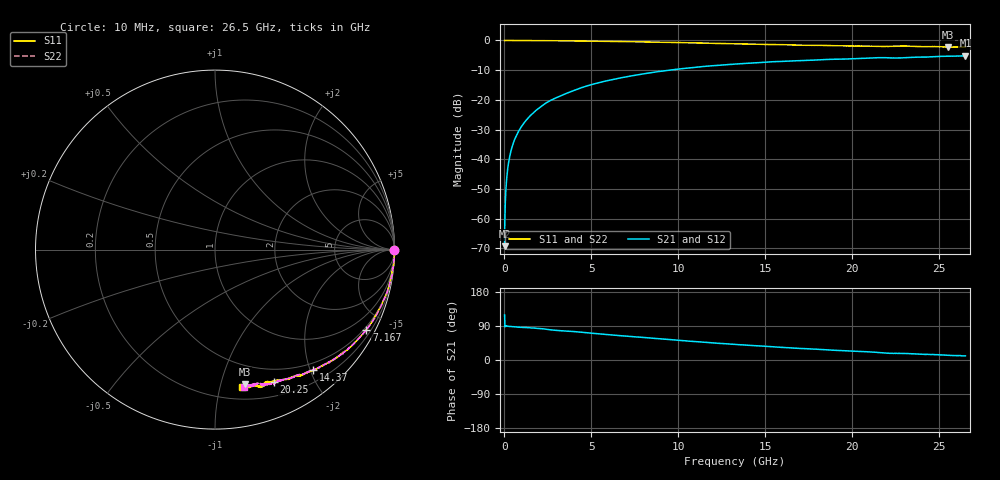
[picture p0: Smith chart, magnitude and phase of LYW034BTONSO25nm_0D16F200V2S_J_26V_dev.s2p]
!Keysight Technologies,N5222B,MY61253708,A.15.00.15
!Date: Wednesday, June 19, 2024 08:51:42
!Correction: S11(C  2-Port  )
!S21(C  2-Port  )
!S12(C  2-Port  )
!S22(C  2-Port  )
!S2P File: Measurements: S11, S21, S12, S22:
# Hz S  RI  R 50
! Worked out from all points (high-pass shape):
!   2651 points, 10 MHz to 26.5 GHz, reference 50 ohm
!   highest |S21| = -5.15 dB at 26.5 GHz (marker M1); lowest = -69.3 dB at 10 MHz (marker M2)
!   |S21| within 3 dB of the highest: 12.81 GHz to end of sweep
!   lowest |S11| = -2.3 dB at 25.5 GHz (marker M3), VSWR 7.63, Z = 16.3 - j59.7 ohm
!   |S11| at or under -10 dB: nowhere
!   |S22| runs from -2.2 to 0.0 dB; largest |S21 - S12| = 0.0077
!   S11 on the Smith chart (normalised r, x): 10 MHz: open; 7.167 GHz: 0.41, -3.99; 14.37 GHz: 0.38, -2.04; 20.25 GHz: 0.35, -1.48; 26.5 GHz: 0.30, -1.17
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1e7  0.9985 -0.0024  -0.000165 0.0003  -6.64e-05 0.000183  0.9986 -0.000614
7.997358e7  0.9998 -0.00597  9.16e-06 0.00296  2.28e-05 0.00292  0.9994 -0.00555
1.499472e8  0.9998 -0.0116  7.22e-05 0.00548  5.47e-05 0.00552  0.9995 -0.0109
1.899321e8  0.9999 -0.0136  6.58e-05 0.00696  9.55e-05 0.00699  0.9997 -0.0129
2.399132e8  0.9992 -0.0178  0.000161 0.00877  0.000168 0.00882  0.9991 -0.0168
3.398755e8  0.999 -0.0246  0.000336 0.0124  0.000293 0.0125  0.9991 -0.0236
4.598302e8  0.9988 -0.0334  0.000544 0.0168  0.000579 0.0169  0.9986 -0.0325
6.097736e8  0.9986 -0.0438  0.00101 0.0223  0.000997 0.0224  0.9986 -0.0431
7.997019e8  0.9977 -0.0573  0.00175 0.029  0.00172 0.0292  0.997 -0.0562
1.429464e9  0.9889 -0.1028  0.00427 0.0518  0.00432 0.052  0.992 -0.0992
2.319128e9  0.9787 -0.1606  0.0121 0.0847  0.0123 0.0852  0.9802 -0.1608
3.138819e9  0.9654 -0.2157  0.0244 0.1113  0.0246 0.1119  0.9666 -0.2139
4.428332e9  0.9334 -0.2959  0.0459 0.1536  0.0463 0.1544  0.9353 -0.2928
7.167298e9  0.8432 -0.4455  0.1154 0.2203  0.1168 0.2213  0.8461 -0.4432
8.846664e9  0.7771 -0.5195  0.1658 0.2485  0.1672 0.2493  0.7796 -0.5169
1.3255e10  0.5905 -0.6504  0.301 0.2635  0.3032 0.2634  0.5953 -0.6485
1.437458e10  0.5466 -0.6727  0.331 0.257  0.3326 0.2572  0.5512 -0.6682
1.767333e10  0.4143 -0.7172  0.4069 0.2253  0.4103 0.224  0.4271 -0.7152
2.025236e10  0.3263 -0.7367  0.4559 0.1929  0.4589 0.191  0.3447 -0.7365
2.209166e10  0.2822 -0.7398  0.4851 0.1559  0.4867 0.1538  0.2781 -0.7473
2.550038e10  0.1669 -0.75  0.5299 0.1148  0.5313 0.1159  0.1887 -0.7563
2.65e10  0.1492 -0.7646  0.5432 0.1037  0.5421 0.1007  0.1627 -0.7652
